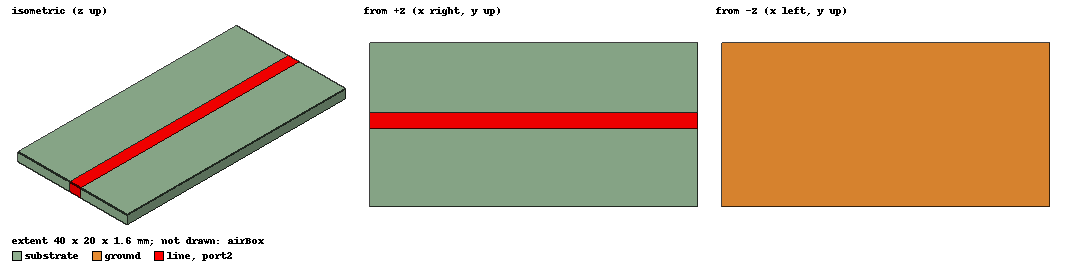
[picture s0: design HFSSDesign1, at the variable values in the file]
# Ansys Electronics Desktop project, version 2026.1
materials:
  vacuum: permittivity=1
  FR4_epoxy: permittivity=4.4 dielectric_loss_tangent=0.02

design HFSSDesign1 (HFSS, HFSS Terminal Network, model units mm)
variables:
  h = 1.6mm
  cu_th = 0.035mm
  er = 4.4
  W = 3mm
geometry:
  ground = rectangle(corner=(0mm, 0mm, 0mm), x_size=40mm, y_size=20mm)
  substrate [FR4_epoxy] = box(corner=(0mm, 0mm, 0mm), size=(40mm, 20mm, h))
  line = rectangle(corner=(0mm, 11.5mm, h), x_size=40mm, y_size=-2mm)
  port1 = rectangle(corner=(0mm, 11.5mm, 0mm), y_size=-2mm, z_size=h)
  port2 = rectangle(corner=(40mm, 11.5mm, 0mm), y_size=-2mm, z_size=h)
  airBox [vacuum] = box(corner=((-40*5/2 + 40/2) mm, (-20*5/2 + 20/2) mm, -h*20/2), size=((40*5) mm, (20*5) mm, h*20))
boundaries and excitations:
  PerfE1: Perfect E Objects=[ground, line]
  Rad1: Radiation Objects=airBox
  1: Lumped Port Objects=port1 LumpedPortType=Modal Modes{Mode1{IntLine{(0, 10.5, 1.6) -> (0, 10.5, 0)} CharImp=Zpi RenormImp=50ohm}} Impedance=50ohm
  2: Lumped Port Objects=port2 LumpedPortType=Modal Modes{Mode1{IntLine{(40, 10.5, 1.6) -> (40, 10.5, 0)} CharImp=Zpi RenormImp=50ohm}} Impedance=50ohm
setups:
  Setup1: HfssDriven Frequency=1.5GHz MaxDeltaS=0.02 MaximumPasses=6 MinimumPasses=1 MinimumConvergedPasses=1 PercentRefinement=30 BasisOrder=1 PortAccuracy=2 DrivenSolverType="Direct Solver"
    sweep Sweep: 10MHz to 1.5GHz, 401 points; Type=Interpolating InterpTolerance=0.5 InterpMaxSolns=250 PassivityErrorTolerance=0.0001
    sweep Single_100MHz: point 100MHz; Type=Discrete SaveFields
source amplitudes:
  1:1: 1V 0deg
  2:1: 0V 0deg
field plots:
  Mag_E1: E Field in substrate on Setup1 : Single_100MHz at Freq=0.1GHz Phase=0deg
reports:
  S Parameter Plot1: dB(S(1,1)), dB(S(2,1)) vs Freq on Setup1 : Sweep
  S Parameter Plot2: ang_deg(S(1,1)), ang_deg(S(2,1)) vs Freq on Setup1 : Sweep
